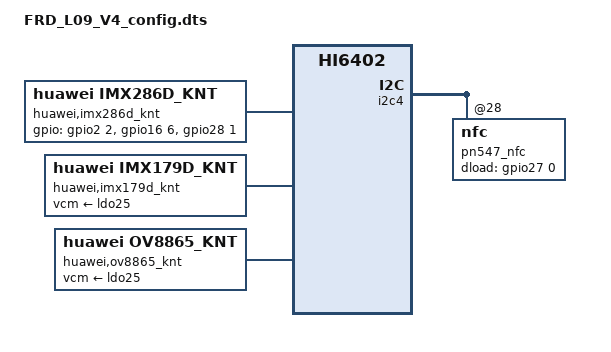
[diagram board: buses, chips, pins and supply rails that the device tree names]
/**
 * Copyright (C) 2014 Hisilicon Ltd.
 *
 *  This program is free software; you can redistribute it and/or modify
 *  it under the terms of the GNU General Public License version 2 as
 *  publishhed by the Free Software Foundation.
 */

/dts-v1/;
/include/ "fastboot.dtsi"
/include/ "FRD_L09_V3_config.dtsi"
/include/ "FRD_L09_V4_pin.dtsi"
/include/ "FRD_L09_V4_hi6402_pin.dtsi"
/include/ "FRD_L09_V4_modem_pin.dtsi"
/ {
	hisi,boardid = <3 9 5 2>;
	hisi,boardname = "FRD_L09_V4";
	hisi,modem_id = <0x3C610C00>;

	amba {
		i2c4: i2c@FDF0D000 {
			pn547_nfc:nfc@28 {
				pinctrl-0 = <>;
				pinctrl-1 = <>;
				nfc_card_num = <0x1>;
				nfc_chip_type = "pn548";
				/* nfc svdd switch:pull up for eSE, pull down for sim1 */
				nfc_svdd_sw = "false";
				pn547,dload = <&gpio27 0 0>;
				nfc_nxp_name = "libnfc_nxp_frd_L09.conf";
				status = "ok";
			};
		};
	};

	nfc_exist {
		nfc_exist_flag = "1";
		nfc_ese_spi_det = "0";
		status = "ok";
	};
	devcheck: devcheck {
		nfc = <1>;
	};
	antenna_fpga{
		status = "disabled";
	};

	huawei,imx286d_knt{
			compatible = "huawei,imx286d_knt";
			huawei,ldo-names = "dvdd", "dvdd2", "vcm", "vcm2";
			gpios = <&gpio2 2 0 &gpio16 6 0 &gpio28 1 0>;
			huawei,gpio-ctrl-types = "reset", "reset2", "mispdcdc-en";
	};

	huawei,imx179d_knt{
			compatible = "huawei,imx179d_knt";
			vcm-supply = <&ldo25>;
			huawei,ldo-names = "vcm";
	};

	huawei,ov8865_knt{
			compatible = "huawei,ov8865_knt";
			vcm-supply = <&ldo25>;
			huawei,ldo-names = "vcm";
	};
};
